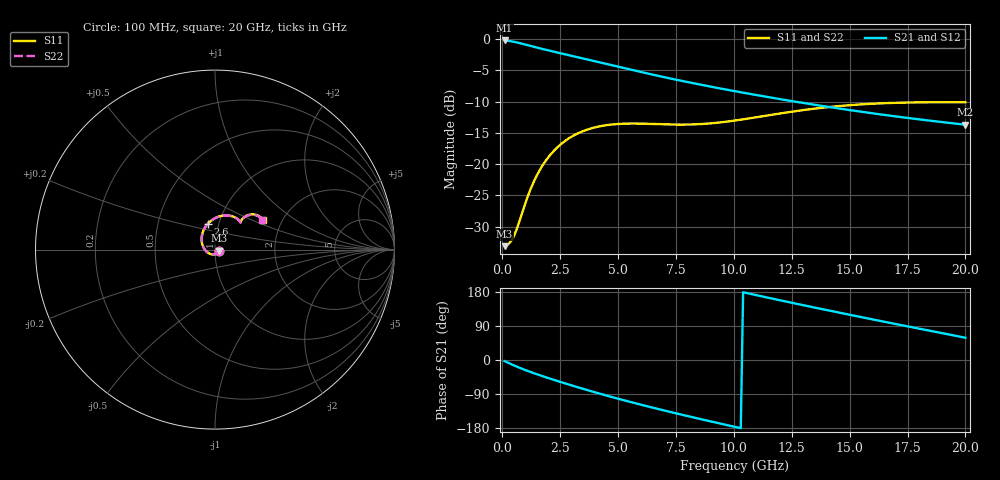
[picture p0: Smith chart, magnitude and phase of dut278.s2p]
! Touchstone file exported from HFSS 2023.1.0
!  File:  D:/Users/fzz/RDL_TSV/temp_RDL_TSV_278_1778762647.aedt
!  Generated:  8:54:47 %x4E0B%x5348  5%x6708 14, 2026
!  Design:  RDL_TSV
!  Project:  temp_RDL_TSV_278_1778762647
!  Setup:  Setup1
!  Solution:  Sweep
! Variables:
!  dtsv = 25.89um
!  hbump = 3um
!  htsv = 74.25um
!  ldown = 604.67um
!  lrdl = 465.57um
!  p = 40
!  p1 = 59.11um
!  rhole = 10um
!  subl = 3676.29um
!  t = 450um
!  tdown = 2.97um
!  trdl = 4.85um
!  viad = 10um
!  wdown = 13.52um
!  wrdl = 21.17um
!  xbump = 18um
# GHz S MA R 50.000000
! Terminal data exported
! Port[1] = TM1_1_T1
! Port[2] = TM1_4_T1
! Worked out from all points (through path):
!   200 points, 100 MHz to 20 GHz, reference 50 ohm
!   highest |S21| = -0.20 dB at 100 MHz (marker M1); lowest = -13.7 dB at 20 GHz (marker M2)
!   group delay of S21, straight-line fit = 39.7 ps
!   lowest |S11| = -33.1 dB at 100 MHz (marker M3), VSWR 1.05, Z = 52.1 - j0.706 ohm
!   |S11| at or under -10 dB: start of sweep to end of sweep
!   |S22| runs from -33.1 to -10.2 dB; largest |S21 - S12| = 9.5e-15
!   S11 on the Smith chart (normalised r, x): 100 MHz: 1.04, -0.01; 2.6 GHz: 0.89, +0.26; 20 GHz: 1.59, +0.58
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0.1  0.02211 -17.8  0.9767 -3.0  0.9767 -3.0  0.02211 -17.8
! Gamma 0 0 0 0
! Port Impedance 50 0 50 0
0.3  0.02334 -56.3  0.9678 -8.7  0.9678 -8.7  0.02334 -56.3
0.5  0.02658 -95.5  0.9533 -14.2  0.9533 -14.2  0.02657 -95.5
0.8  0.03796 -144.4  0.9254 -21.9  0.9254 -21.9  0.03794 -144.4
1.2  0.06175 173.6  0.8851 -31.2  0.8851 -31.2  0.06172 173.6
1.5  0.08183 152.6  0.8562 -37.7  0.8562 -37.7  0.08178 152.6
1.8  0.1017 136.4  0.8293 -43.9  0.8293 -43.9  0.1017 136.4
2.2  0.1264 119.6  0.7961 -51.9  0.7961 -51.9  0.1264 119.6
2.6  0.1481 106.3  0.765 -59.6  0.765 -59.6  0.148 106.3
3.5  0.1843 84.0  0.6995 -76.3  0.6995 -76.3  0.1843 84.0
4.2  0.2009 71.5  0.652 -88.7  0.652 -88.7  0.2009 71.5
5.1  0.2103 59.9  0.5957 -103.8  0.5957 -103.8  0.2104 59.8
5.9  0.2114 53.0  0.5506 -116.6  0.5506 -116.6  0.2115 52.9
6.8  0.209 48.6  0.5055 -130.4  0.5055 -130.4  0.2092 48.5
8.3  0.2083 46.9  0.4424 -152.2  0.4424 -152.2  0.2082 46.6
10.1  0.2242 48.2  0.3821 -177.2  0.3821 -177.2  0.2235 47.9
11.8  0.2513 47.6  0.3363 160.1  0.3363 160.1  0.2499 47.3
13.4  0.277 44.9  0.3006 139.5  0.3006 139.5  0.2749 44.6
15  0.2965 41.1  0.271 119.4  0.271 119.4  0.2939 41.0
16.7  0.3085 37.2  0.245 98.5  0.245 98.5  0.3055 37.1
18.3  0.3129 34.1  0.2248 79.2  0.2248 79.2  0.3096 34.1
20  0.3133 31.9  0.207 58.8  0.207 58.8  0.3099 32.0
